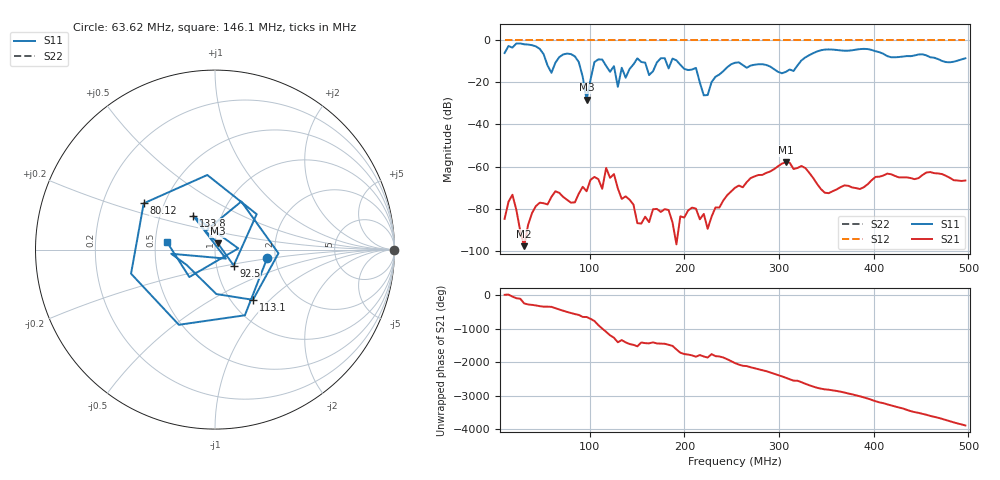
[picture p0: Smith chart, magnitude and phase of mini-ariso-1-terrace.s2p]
! Anritsu VNA Master:  Model: MS2024B
! SN:  2417009
! /card0/usr/mini-ariso-1-terrace.s2p
! Existing Calibration Information:
! TYPE:  Current Settings,  Active Cal Settings
! TIME:  09/07/2026 01:12:43 AM,  09/07/2026 01:10:48 AM
! INTERNAL TEMP:  48.8 C,  47.5 C
! # POINTS:  119,  119
! START FREQ:  10.000 MHz,  10.000 MHz
! STOP FREQ:  496.750 MHz,  496.750 MHz
! SOURCE POWER:  Default,  Default
! IFBW:  1 kHz,  1 kHz
! AVG FACTOR:  16 ,  16
! REF PLANE 1:  0 mm,  0 mm
! REF PLANE 2:  0 mm,  0 mm
! CAL TYPE:  1P2P S11,S21,  1P2P S11,S21
! CAL METHOD:  SOLT,  SOLT
! CAL LINE TYPE:  Coax,  Coax
! DUT PORT 1:  N-Conn(M),  N-Conn(M)
! DUT PORT 2:  N-Conn(M),  N-Conn(M)
! CAL STATUS:  OK: Accuracy High,  --
# GHZ S DB R 50.0
! FREQ.GHZ  S11DB  S11A  S21DB  S21A  S12DB  S12A  S22DB  S22A
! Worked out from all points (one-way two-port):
!   119 points, 10 MHz to 496.8 MHz, reference 50 ohm
!   highest |S21| = -57.99 dB at 307 MHz (marker M1); lowest = -97.9 dB at 30.62 MHz (marker M2)
!   lowest |S11| = -28.2 dB at 96.62 MHz (marker M3), VSWR 1.08, Z = 51.5 + j3.65 ohm
!   |S11| at or under -10 dB: 87.89 MHz to 105.8 MHz (17.95 MHz wide, 18.5 % of centre); 114.4 MHz to 148.1 MHz (33.77 MHz wide, 25.7 % of centre); 192.5 MHz to 322.7 MHz (130.1 MHz wide, 50.5 % of centre)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
!   |S22| runs from 0.0 to 0.0 dB; largest |S21 - S12| = 1
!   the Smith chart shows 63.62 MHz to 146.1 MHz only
!   S11 on the Smith chart (normalised r, x): 63.62 MHz: 1.81, -0.18; 80.12 MHz: 0.38, +0.26; 92.5 MHz: 1.21, -0.22; 113.1 MHz: 1.25, -0.80; 133.8 MHz: 0.74, +0.29; 146.1 MHz: 0.58, +0.05
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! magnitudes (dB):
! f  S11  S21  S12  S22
! 10 MHz  -6.0  -84.9  0.0  0.0
! 30.62 MHz  -1.8  -97.9  0.0  0.0
! 63.62 MHz  -10.6  -71.8  0.0  0.0
! 80.12 MHz  -6.5  -77.2  0.0  0.0
! 92.5 MHz  -17.3  -69.6  0.0  0.0
! 96.62 MHz  -28.2  -71.8  0.0  0.0
! 104.9 MHz  -10.3  -65.0  0.0  0.0
! 113.1 MHz  -9.1  -70.6  0.0  0.0
! 117.2 MHz  -12.1  -60.7  0.0  0.0
! 129.6 MHz  -22.1  -70.5  0.0  0.0
! 133.8 MHz  -13.0  -75.4  0.0  0.0
! 146.1 MHz  -11.4  -78.1  0.0  0.0
! 162.6 MHz  -16.5  -86.5  0.0  0.0
! 175 MHz  -8.4  -81.6  0.0  0.0
! 212.1 MHz  -13.1  -80.1  0.0  0.0
! 220.4 MHz  -26.1  -82.6  0.0  0.0
! 253.4 MHz  -10.6  -70.1  0.0  0.0
! 307 MHz  -15.0  -58.0  0.0  0.0
! 335.9 MHz  -6.1  -65.4  0.0  0.0
! 352.4 MHz  -4.3  -72.7  0.0  0.0
! 418.4 MHz  -8.0  -63.7  0.0  0.0
! 496.8 MHz  -8.5  -66.7  0.0  0.0
